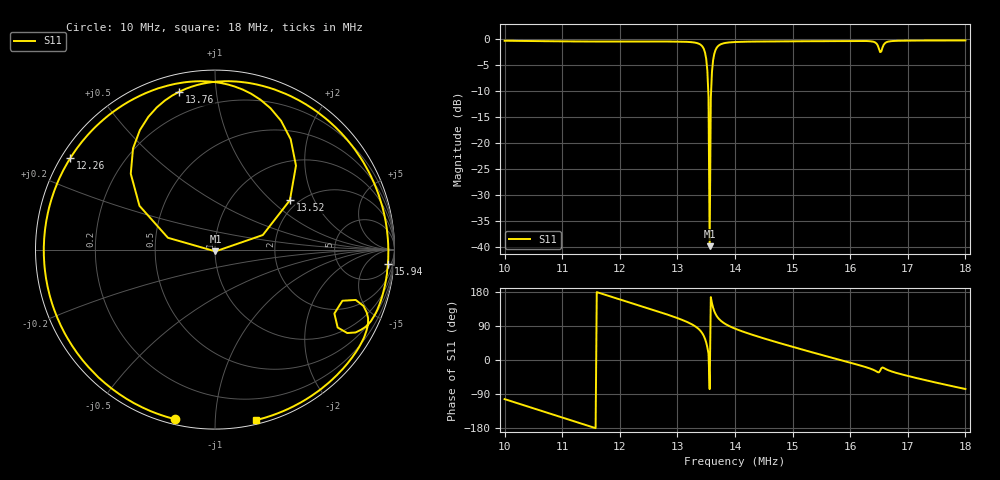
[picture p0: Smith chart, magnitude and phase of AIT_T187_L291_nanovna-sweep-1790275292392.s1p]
! NanoVNA Web complex sweep
! Processing: original sample grid, no browser smoothing
# Hz S RI R 50
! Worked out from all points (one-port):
!   401 points, 10 MHz to 18 MHz, reference 50 ohm
!   lowest |S11| = -39.8 dB at 13.56 MHz (marker M1), VSWR 1.02, Z = 50.2 - j1 ohm
!   |S11| at or under -10 dB: 13.53568 MHz to 13.58532 MHz (49.64 kHz wide, 0.366 % of centre)
!   S11 on the Smith chart (normalised r, x): 10 MHz: 0.02, -0.79; 12.26 MHz: 0.03, +0.29; 13.52 MHz: 1.81, +1.33; 13.76 MHz: 0.08, +0.80; 15.94 MHz: 9, -21; 18 MHz: 0.03, -1.27
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1e7  -0.2219 -0.9452
1.046e7  -0.5608 -0.7855
1.1e7  -0.8444 -0.4526
1.15e7  -0.9518 -0.066
1.2e7  -0.896 0.3262
1.226e7  -0.8053 0.5114
1.3e7  -0.3354 0.8916
1.33e7  0.00381 0.9327
1.344e7  0.3094 0.7874
1.35e7  0.4512 0.4679
1.352e7  0.4174 0.2753
1.356e7  0.00233 -0.00999
1.36e7  -0.4208 0.2439
1.362e7  -0.4693 0.4224
1.364e7  -0.4567 0.5636
1.37e7  -0.3245 0.792
1.376e7  -0.1994 0.8795
1.4e7  0.1183 0.9364
1.446e7  0.4925 0.8176
1.5e7  0.7872 0.5464
1.594e7  0.9637 -0.0782
1.6e7  0.9591 -0.118
1.634e7  0.8899 -0.3639
1.65e7  0.6834 -0.4341
1.656e7  0.7841 -0.2805
1.664e7  0.8527 -0.4077
1.7e7  0.7231 -0.6522
1.8e7  0.2273 -0.9501
